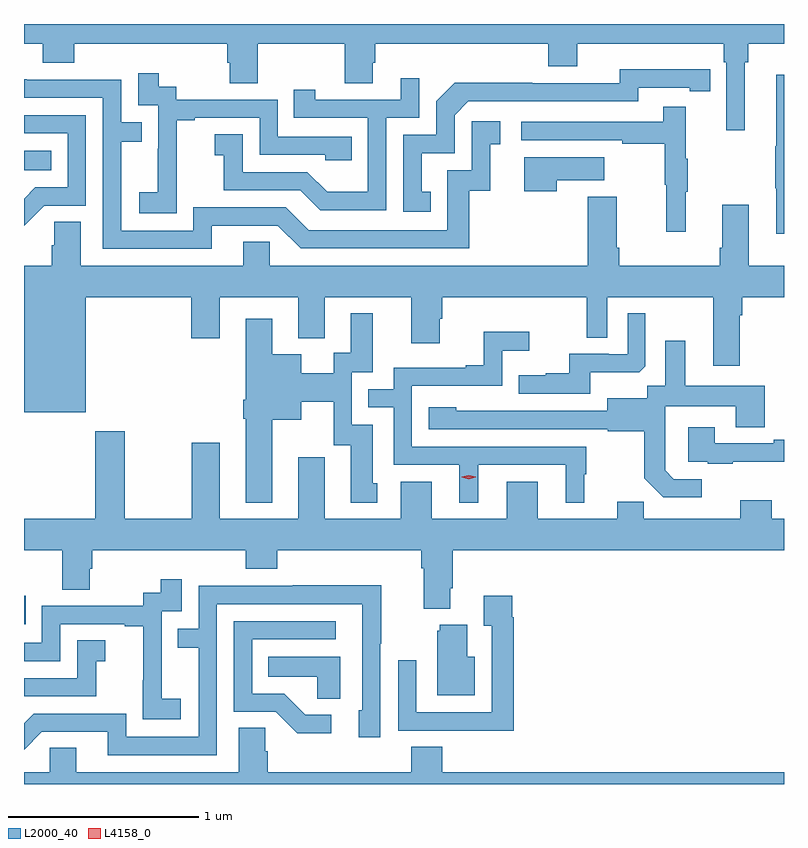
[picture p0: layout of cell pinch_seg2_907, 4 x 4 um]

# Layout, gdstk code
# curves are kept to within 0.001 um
import gdstk
lib = gdstk.Library(unit=1e-6, precision=1e-09)
def R(c, l, rs):  # rectangles x0, y0, x1, y1
    for r in rs: c.add(gdstk.rectangle(r[:2], r[2:], *l))
def P(c, l, *ps):  # polygons
    for p in ps: c.add(gdstk.Polygon(p, *l))
L2000_40 = (2000, 40)
L4158_0 = (4158, 0)

pinch_seg2_907 = lib.new_cell('pinch_seg2_907')
R(pinch_seg2_907, L2000_40, [(532.34,649.911,532.349,650.059), (532.34,652.298,532.484,652.402)])
P(pinch_seg2_907, L2000_40, [(532.34,652.964),(532.439,652.964),(532.439,652.865),(532.604,652.865),(532.604,652.964),(533.411,652.964),(533.411,652.866),(533.423,652.866),(533.423,652.756),(533.571,652.756),(533.571,652.964),(534.028,652.964),(534.028,652.756),(534.175,652.756),(534.175,652.866),(534.188,652.866),(534.188,652.964),(535.1,652.964),(535.1,652.847),(535.252,652.847),(535.252,652.964),(536.024,652.964),(536.024,652.868),(536.037,652.868),(536.037,652.509),(536.134,652.509),(536.134,652.868),(536.153,652.868),(536.153,652.964),(536.34,652.964),(536.34,653.069),(532.34,653.069)],
  [(534.482,652.185),(534.433,652.185),(534.433,652.389),(534.606,652.389),(534.606,652.59),(534.678,652.662),(535.572,652.662),(535.572,652.734),(535.844,652.734),(535.844,652.714),(535.952,652.714),(535.952,652.83),(535.476,652.831),(535.476,652.758),(535.016,652.758),(535.016,652.76),(534.608,652.76),(534.51,652.662),(534.51,652.485),(534.336,652.485),(534.336,652.08),(534.482,652.08)],
  [(533.145,652.279),(533.144,652.279),(533.144,652.563),(533.239,652.563),(533.239,652.575),(533.58,652.575),(533.58,652.38),(533.925,652.38),(533.925,652.353),(534.065,652.353),(534.065,652.476),(533.676,652.476),(533.676,652.671),(533.142,652.671),(533.142,652.74),(533.05,652.74),(533.05,652.81),(532.941,652.81),(532.941,652.641),(533.046,652.641),(533.046,652.412),(533.045,652.412),(533.045,652.183),(532.947,652.183),(532.947,652.073),(533.145,652.073)],
  [(536.34,652.801),(536.3,652.801),(536.3,652.425),(536.293,652.425),(536.293,652.204),(536.3,652.204),(536.3,651.966),(536.34,651.966)],
  [(534.246,652.575),(534.42,652.575),(534.42,652.783),(534.323,652.783),(534.323,652.671),(533.872,652.671),(533.872,652.723),(533.761,652.723),(533.761,652.575),(534.15,652.575),(534.15,652.186),(533.936,652.186),(533.832,652.29),(533.49,652.29),(533.49,652.489),(533.343,652.489),(533.343,652.379),(533.392,652.379),(533.392,652.194),(533.795,652.194),(533.9,652.089),(534.246,652.089)],
  [(533.329,652.008),(533.676,652.008),(533.796,651.888),(534.683,651.888),(534.683,652.191),(534.794,652.191),(534.794,652.437),(534.847,652.437),(534.847,652.558),(534.696,652.558),(534.696,652.299),(534.567,652.299),(534.567,651.984),(533.838,651.984),(533.718,652.104),(533.232,652.104),(533.232,651.981),(532.851,651.981),(532.851,652.45),(532.961,652.45),(532.961,652.551),(532.851,652.551),(532.851,652.776),(532.355,652.776),(532.355,652.778),(532.34,652.778),(532.34,652.68),(532.755,652.68),(532.755,651.885),(533.329,651.885)],
  [(535.823,652.187),(535.834,652.187),(535.834,652.361),(535.823,652.361),(535.823,652.633),(535.705,652.633),(535.705,652.554),(534.957,652.554),(534.957,652.458),(535.489,652.458),(535.489,652.438),(535.713,652.438),(535.713,652.224),(535.72,652.224),(535.72,651.975),(535.823,651.975)],
  [(532.446,652.113),(532.665,652.113),(532.665,652.59),(532.34,652.59),(532.34,652.494),(532.569,652.494),(532.569,652.209),(532.4,652.209),(532.34,652.149),(532.34,652.008)],
  [(535.145,652.247),(535.393,652.247),(535.393,652.369),(534.974,652.369),(534.974,652.188),(535.145,652.188)],
  [(532.666,651.632),(533.219,651.632),(533.219,651.414),(533.371,651.414),(533.371,651.632),(533.783,651.632),(533.783,651.416),(533.923,651.416),(533.923,651.632),(534.377,651.632),(534.377,651.39),(534.529,651.39),(534.529,651.519),(534.542,651.519),(534.542,651.632),(535.302,651.632),(535.302,651.418),(535.41,651.418),(535.41,651.632),(535.967,651.632),(535.967,651.27),(536.107,651.27),(536.107,651.536),(536.12,651.536),(536.12,651.632),(536.34,651.632),(536.34,651.796),(536.155,651.796),(536.155,652.117),(536.015,652.117),(536.015,651.892),(536.003,651.892),(536.003,651.796),(535.472,651.796),(535.472,651.892),(535.459,651.892),(535.459,652.159),(535.307,652.159),(535.307,651.796),(533.634,651.796),(533.634,651.923),(533.495,651.923),(533.495,651.796),(532.639,651.796),(532.639,652.028),(532.5,652.028),(532.5,651.905),(532.487,651.905),(532.487,651.796),(532.34,651.796),(532.34,651.026),(532.666,651.026)],
  [(535.321,651.236),(535.579,651.236),(535.611,651.267),(535.611,651.547),(535.518,651.547),(535.518,651.33),(535.418,651.33),(535.418,651.333),(535.211,651.333),(535.211,651.232),(535.087,651.232),(535.087,651.22),(534.943,651.22),(534.943,651.123),(535.321,651.123)],
  [(533.647,650.987),(533.8,650.987),(533.8,651.08),(533.97,651.08),(533.97,650.853),(534.059,650.853),(534.059,650.55),(534.199,650.55),(534.199,650.652),(534.175,650.652),(534.175,650.961),(534.066,650.961),(534.066,651.237),(534.175,651.237),(534.175,651.547),(534.059,651.547),(534.059,651.338),(533.969,651.338),(533.969,651.232),(533.8,651.232),(533.8,651.331),(533.647,651.331),(533.647,651.517),(533.507,651.517),(533.507,651.091),(533.495,651.091),(533.495,650.991),(533.507,650.991),(533.507,650.549),(533.647,650.549)],
  [(534.73,650.748),(535.19,650.748),(535.19,650.549),(535.288,650.549),(535.288,650.7),(535.3,650.7),(535.3,650.844),(534.381,650.844),(534.381,651.165),(534.858,651.165),(534.858,651.35),(535,651.35),(535,651.449),(534.76,651.449),(534.76,651.274),(534.665,651.274),(534.665,651.261),(534.285,651.261),(534.285,651.147),(534.151,651.147),(534.151,651.051),(534.285,651.051),(534.285,650.748),(534.632,650.748),(534.632,650.549),(534.73,650.549)],
  [(535.906,650.673),(535.761,650.673),(535.714,650.72),(535.714,650.815),(535.716,650.815),(535.716,651.056),(536.087,651.056),(536.087,650.947),(536.239,650.947),(536.239,651.166),(535.819,651.166),(535.819,651.403),(535.715,651.403),(535.715,651.164),(535.62,651.164),(535.62,651.1),(535.409,651.1),(535.409,651.033),(534.615,651.034),(534.615,651.052),(534.471,651.052),(534.471,650.937),(535.413,650.937),(535.413,650.925),(535.605,650.925),(535.605,650.679),(535.705,650.579),(535.906,650.579)],
  [(536.071,650.765),(536.34,650.765),(536.34,650.881),(536.285,650.881),(536.285,650.862),(535.975,650.862),(535.975,650.947),(535.835,650.947),(535.835,650.766),(535.939,650.766),(535.939,650.754),(536.071,650.754)],
  [(536.34,650.464),(536.275,650.464),(536.275,650.563),(536.111,650.563),(536.111,650.464),(535.601,650.464),(535.601,650.555),(535.463,650.555),(535.463,650.464),(535.045,650.464),(535.045,650.659),(534.881,650.659),(534.881,650.464),(534.487,650.464),(534.487,650.659),(534.323,650.659),(534.323,650.464),(533.923,650.464),(533.923,650.788),(533.783,650.788),(533.783,650.464),(533.371,650.464),(533.371,650.866),(533.224,650.866),(533.224,650.464),(532.869,650.464),(532.869,650.926),(532.714,650.926),(532.714,650.464),(532.34,650.464),(532.34,650.3),(532.54,650.3),(532.54,650.092),(532.687,650.092),(532.687,650.202),(532.7,650.202),(532.7,650.3),(533.507,650.3),(533.507,650.201),(533.672,650.201),(533.672,650.3),(534.431,650.3),(534.431,650.204),(534.443,650.204),(534.443,649.991),(534.583,649.991),(534.583,650.098),(534.596,650.098),(534.596,650.3),(536.34,650.3)],
  [(533.164,649.519),(533.066,649.519),(533.066,649.748),(533.064,649.748),(533.064,649.977),(533.169,649.977),(533.169,650.146),(533.061,650.146),(533.061,650.076),(532.968,650.076),(532.968,650.007),(532.434,650.007),(532.434,649.812),(532.34,649.812),(532.34,649.716),(532.53,649.716),(532.53,649.911),(532.871,649.911),(532.871,649.899),(532.967,649.899),(532.967,649.615),(532.966,649.615),(532.966,649.409),(533.164,649.409)],
  [(533.355,650.016),(534.12,650.016),(534.12,649.458),(534.101,649.458),(534.101,649.314),(534.216,649.314),(534.216,649.807),(534.219,649.807),(534.219,650.114),(533.755,650.114),(533.755,650.112),(533.259,650.112),(533.259,649.887),(533.149,649.887),(533.149,649.786),(533.259,649.786),(533.259,649.317),(532.878,649.317),(532.878,649.44),(532.392,649.44),(532.34,649.388),(532.34,649.25),(532.434,649.344),(532.781,649.344),(532.781,649.221),(533.355,649.221)],
  [(534.917,649.946),(534.91,649.946),(534.91,650.059),(534.761,650.059),(534.761,649.903),(534.801,649.903),(534.801,649.446),(534.405,649.446),(534.405,649.72),(534.309,649.72),(534.309,649.35),(534.625,649.35),(534.625,649.349),(534.917,649.349)],
  [(533.956,649.434),(533.821,649.434),(533.71,649.545),(533.541,649.545),(533.541,649.83),(533.98,649.83),(533.98,649.926),(533.445,649.926),(533.445,649.449),(533.664,649.449),(533.777,649.337),(533.956,649.337)],
  [(534.712,649.738),(534.673,649.738),(534.673,649.906),(534.527,649.906),(534.527,649.875),(534.515,649.875),(534.515,649.535),(534.712,649.535)],
  [(532.719,649.715),(532.768,649.715),(532.768,649.825),(532.62,649.825),(532.62,649.626),(532.34,649.626),(532.34,649.53),(532.719,649.53)],
  [(534.004,649.738),(533.626,649.738),(533.626,649.634),(533.883,649.634),(533.883,649.519),(534.004,649.519)],
  [(536.34,649.132),(534.542,649.132),(534.542,649.265),(534.377,649.265),(534.377,649.132),(533.624,649.132),(533.624,649.241),(533.61,649.241),(533.61,649.364),(533.471,649.364),(533.471,649.132),(532.615,649.132),(532.615,649.259),(532.476,649.259),(532.476,649.132),(532.34,649.132),(532.34,649.069),(536.34,649.069)])
P(pinch_seg2_907, L4158_0, [(534.681,650.674),(534.645,650.684),(534.645,650.684),(534.645,650.685),(534.681,650.694),(534.717,650.685),(534.717,650.684),(534.717,650.684)])

lib.write_gds('pinch_seg2_907.gds')
